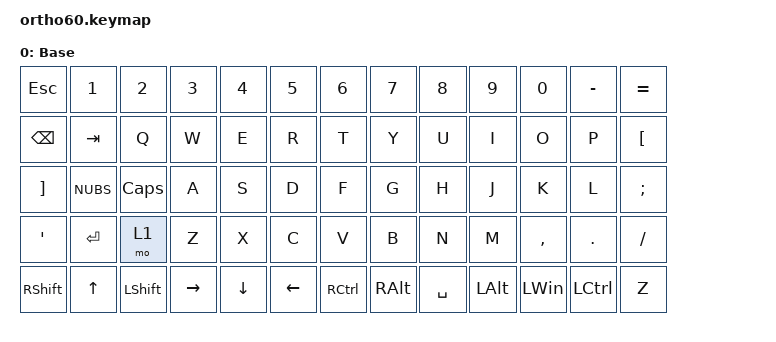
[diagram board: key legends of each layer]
#include <behaviors.dtsi>
#include <dt-bindings/zmk/keys.h>
//#include <dt-bindings/zmk/bt.h>

/ {
    keymap {
        compatible = "zmk,keymap";

        default_layer {
            display-name = "Base";

            // ----------------------------------------------
            // |    ESC    |     1     |     2     |     3     |     4     |     5     |     6     |     7     |     8     |     9     |     0     |     -     |     =     |
            // |   BCSPC   |    TAB    |     Q     |     W     |     E     |     R     |     T     |     Y     |     U     |     I     |     O     |     P     |    LBC    |
            // |    RBC    |     \     |    CAPS   |     A     |     S     |     D     |     F     |     G     |     H     |     J     |     K     |     L     |     ;     |
            // |     '     |    ENT    |    SFT    |     Z     |     X     |     C     |     V     |     B     |     N     |     M     |    DOT    |    COM    |    SLS    |
            // |   RTSFT   |    UP     |    FN     |   CTRL    |    WIN    |    ALT    |    SPC    |    ALT    |   CTRL    |    LFT    |    DWN    |    RGT    |   EXTRA   |
            // |   RTSFT   |    UP     |    SFT    |   CTRL    |    WIN    |    ALT    |    SPC    |    ALT    |   CTRL    |    LFT    |    DWN    |    RGT    |   EXTRA   |

            bindings = <
                &kp ESC    &kp N1    &kp N2    &kp N3    &kp N4    &kp N5    &kp N6    &kp N7    &kp N8    &kp N9    &kp N0    &kp MINUS     &kp EQUAL
                &kp BSPC    &kp TAB    &kp Q    &kp W    &kp E    &kp R    &kp T    &kp Y    &kp U    &kp I    &kp O    &kp P     &kp LBKT
                &kp RBKT    &kp NUBS    &kp CAPS    &kp A    &kp S    &kp D    &kp F    &kp G    &kp H    &kp J    &kp K    &kp L     &kp SEMI
                &kp APOS    &kp ENTER    &mo 1    &kp Z    &kp X    &kp C    &kp V    &kp B    &kp N    &kp M    &kp COMMA    &kp DOT     &kp SLASH
                &kp RSHIFT    &kp UP    &kp LSHIFT    &kp RIGHT    &kp DOWN    &kp LEFT    &kp RCTRL    &kp RALT    &kp SPACE    &kp LALT    &kp LWIN    &kp LCTRL     &kp Z
            >;
        };
    };
};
